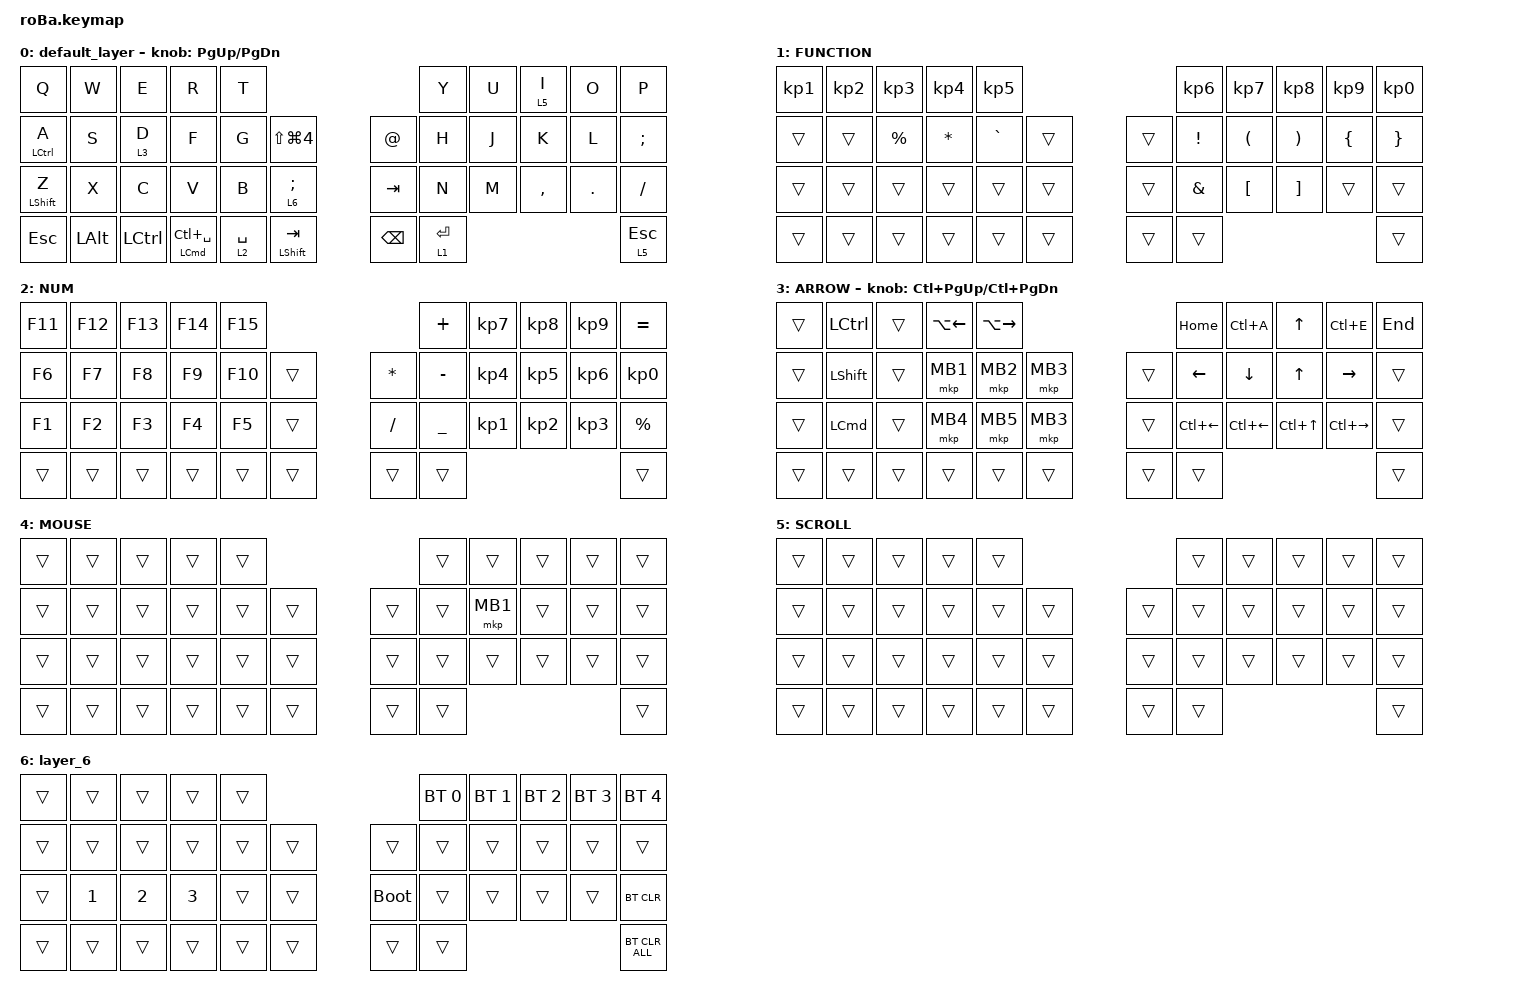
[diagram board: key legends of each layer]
#include <behaviors.dtsi>
#include <dt-bindings/zmk/bt.h>
#include <dt-bindings/zmk/keys.h>
#include <dt-bindings/zmk/pointing.h>

&mt {
    flavor = "balanced";
    quick-tap-ms = <0>;
};

&trackball {
    automouse-layer = <4>;
    scroll-layers = <5>;

    // arrows {
    //     layers = <3>;
    //     bindings =
    //         <&kp RIGHT_ARROW>,
    //         <&kp LEFT_ARROW>,
    //         <&kp UP_ARROW>,
    //         <&kp DOWN_ARROW>;
    //     tick = <10>;
    //     wait-ms = <5>;
    //     tap-ms = <5>;
    // };
};

/ {
    combos {
        compatible = "zmk,combos";

        tab {
            bindings = <&kp TAB>;
            key-positions = <11 12>;
        };

        shift_tab {
            bindings = <&kp LS(TAB)>;
            key-positions = <12 13>;
        };

        minus {
            bindings = <&kp MINUS>;
            key-positions = <7 8>;
        };

        eq {
            bindings = <&kp EQUAL>;
            key-positions = <7 20>;
        };

        double_quotataion {
            bindings = <&kp DOUBLE_QUOTES>;
            key-positions = <19 20>;
        };

        single_quotation {
            bindings = <&kp SINGLE_QUOTE>;
            key-positions = <19 18>;
        };

        doller {
            bindings = <&kp DOLLAR>;
            key-positions = <30 31>;
        };

        back_slash {
            bindings = <&kp BACKSLASH>;
            key-positions = <31 32>;
        };

        grave {
            bindings = <&kp TILDE>;
            key-positions = <1 2>;
        };

        hash {
            bindings = <&kp HASH>;
            key-positions = <23 24>;
        };

        caret {
            bindings = <&kp CARET>;
            key-positions = <24 25>;
        };
    };

    macros {
        to_layer_0: to_layer_0 {
            compatible = "zmk,behavior-macro-one-param";
            #binding-cells = <1>;
            bindings = <&to 0 &macro_param_1to1 &kp MACRO_PLACEHOLDER>;
            label = "TO_LAYER_0";
        };
    };

    behaviors {
        lt_to_layer_0: lt_to_layer_0 {
            compatible = "zmk,behavior-hold-tap";
            label = "LAYER_TAP_TO_0";
            bindings = <&mo>, <&to_layer_0>;

            #binding-cells = <2>;
            tapping-term-ms = <200>;
        };
    };

    keymap {
        compatible = "zmk,keymap";

        default_layer {
            bindings = <
&kp Q               &kp W         &kp E             &kp R                       &kp T                                                       &kp Y        &kp U  &lt 5 I    &kp O    &kp P
&mt LEFT_CONTROL A  &kp S         &lt 3 D           &kp F                       &kp G        &kp LS(LG(NUMBER_4))            &kp AT_SIGN    &kp H        &kp J  &kp K      &kp L    &kp SEMICOLON
&mt LEFT_SHIFT Z    &kp X         &kp C             &kp V                       &kp B        &lt_to_layer_0 6 SEMICOLON      &kp TAB        &kp N        &kp M  &kp COMMA  &kp DOT  &kp SLASH
&kp ESCAPE          &kp LEFT_ALT  &kp LEFT_CONTROL  &mt LEFT_COMMAND LC(SPACE)  &lt 2 SPACE  &mt LSHFT TAB                   &kp BACKSPACE  &lt 1 ENTER                             &lt 5 ESCAPE
            >;

            sensor-bindings = <&inc_dec_kp PG_UP PAGE_DOWN>;
        };

        FUNCTION {
            bindings = <
&kp KP_N1  &kp KP_N2  &kp KP_N3    &kp KP_N4     &kp KP_N5                      &kp KP_N6        &kp KP_N7             &kp KP_N8              &kp KP_N9       &kp KP_N0
&trans     &trans     &kp PERCENT  &kp ASTERISK  &kp GRAVE  &trans      &trans  &kp EXCLAMATION  &kp LEFT_PARENTHESIS  &kp RIGHT_PARENTHESIS  &kp LEFT_BRACE  &kp RIGHT_BRACE
&trans     &trans     &trans       &trans        &trans     &trans      &trans  &kp AMPERSAND    &kp LEFT_BRACKET      &kp RIGHT_BRACKET      &trans          &trans
&trans     &trans     &trans       &trans        &trans     &trans      &trans  &trans                                                                        &trans
            >;
        };

        NUM {
            bindings = <
&kp F11  &kp F12  &kp F13  &kp F14  &kp F15                            &kp PLUS        &kp KP_NUMBER_7  &kp KP_NUMBER_8  &kp KP_NUMBER_9  &kp EQUAL
&kp F6   &kp F7   &kp F8   &kp F9   &kp F10  &trans      &kp ASTERISK  &kp MINUS       &kp KP_NUMBER_4  &kp KP_NUMBER_5  &kp KP_NUMBER_6  &kp KP_NUMBER_0
&kp F1   &kp F2   &kp F3   &kp F4   &kp F5   &trans      &kp SLASH     &kp UNDERSCORE  &kp KP_NUMBER_1  &kp KP_NUMBER_2  &kp KP_NUMBER_3  &kp PERCENT
&trans   &trans   &trans   &trans   &trans   &trans      &trans        &trans                                                             &trans
            >;
        };

        ARROW {
            bindings = <
&trans  &kp LCTRL         &trans  &kp LA(LEFT)  &kp LA(RIGHT)                        &kp HOME      &kp LC(A)     &kp UP      &kp LC(E)      &kp END
&trans  &kp LEFT_SHIFT    &trans  &mkp MB1      &mkp MB2       &mkp MB3      &trans  &kp LEFT      &kp DOWN      &kp UP      &kp RIGHT      &trans
&trans  &kp LEFT_COMMAND  &trans  &mkp MB4      &mkp MB5       &mkp MB3      &trans  &kp LC(LEFT)  &kp LC(LEFT)  &kp LC(UP)  &kp LC(RIGHT)  &trans
&trans  &trans            &trans  &trans        &trans         &trans        &trans  &trans                                                 &trans
            >;

            sensor-bindings = <&inc_dec_kp LC(PAGE_UP) LC(PAGE_DOWN)>;
        };

        MOUSE {
            bindings = <
&trans  &trans  &trans  &trans  &trans                      &trans  &trans    &trans  &trans  &trans
&trans  &trans  &trans  &trans  &trans  &trans      &trans  &trans  &mkp MB1  &trans  &trans  &trans
&trans  &trans  &trans  &trans  &trans  &trans      &trans  &trans  &trans    &trans  &trans  &trans
&trans  &trans  &trans  &trans  &trans  &trans      &trans  &trans                            &trans
            >;
        };

        SCROLL {
            bindings = <
&trans  &trans  &trans  &trans  &trans                      &trans  &trans  &trans  &trans  &trans
&trans  &trans  &trans  &trans  &trans  &trans      &trans  &trans  &trans  &trans  &trans  &trans
&trans  &trans  &trans  &trans  &trans  &trans      &trans  &trans  &trans  &trans  &trans  &trans
&trans  &trans  &trans  &trans  &trans  &trans      &trans  &trans                          &trans
            >;
        };

        layer_6 {
            bindings = <
&trans  &trans        &trans        &trans        &trans                           &bt BT_SEL 0  &bt BT_SEL 1  &bt BT_SEL 2  &bt BT_SEL 3  &bt BT_SEL 4
&trans  &trans        &trans        &trans        &trans  &trans      &trans       &trans        &trans        &trans        &trans        &trans
&trans  &kp NUMBER_1  &kp NUMBER_2  &kp NUMBER_3  &trans  &trans      &bootloader  &trans        &trans        &trans        &trans        &bt BT_CLR
&trans  &trans        &trans        &trans        &trans  &trans      &trans       &trans                                                  &bt BT_CLR_ALL
            >;
        };
    };
};
